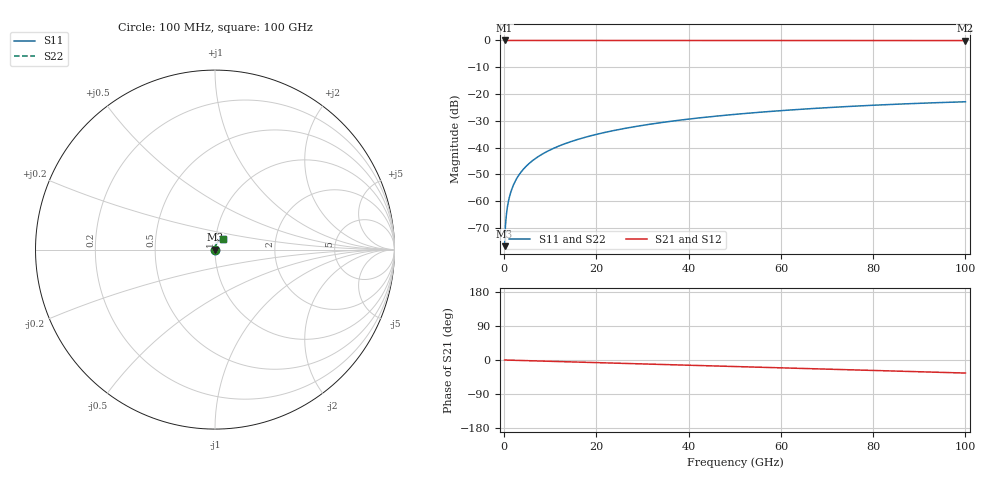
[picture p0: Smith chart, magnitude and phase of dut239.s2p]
! Touchstone file exported from HFSS 2026.1.0
!  File:  C:/ffzhzh/LocalFiles/Ansys_Project_Files/temp_train_TSV_239_1783508135_41296.aedt
!  Generated:  06:56:52 PM Jul  8, 2026
!  Design:  TSV
!  Project:  temp_train_TSV_239_1783508135_41296
! Variables:
!  h_bsmrdl = 2um
!  h_ox = 20um
!  h_rdl = 5um
!  h_sub = 62.86um
!  h_tmrdl = 5um
!  h_tsv = 62.86um
!  h_via = 3um
!  l_bsmrdl = 300um
!  l_sub = 424.14um
!  l_tmrdl = 200um
!  m_sub = 200um
!  pitch = 56.25um
!  r_tsv = 12.07um
!  s_tmrdl = 10um
!  w_bsmrdl = 18um
!  w_sub = 500um
!  w_tmrdl = 12um
!  x_tsv_center1 = 206um
!  x_tsv_center2 = 524um
!  x_tsv_center3 = 736um
!  x_tsv_center4 = 1054um
!  x_tsv_center5 = 1266um
!  x_tsv_center6 = 1584um
# GHz S MA R 50.000000
! Terminal data exported
! Port[1] = TSV1_1_T1
! Port[2] = TSV1_1_T2
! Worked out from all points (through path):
!   1000 points, 100 MHz to 100 GHz, reference 50 ohm
!   highest |S21| = 0.00 dB at 100 MHz (marker M1); lowest = 0.0 dB at 100 GHz (marker M2)
!   group delay of S21, straight-line fit = 955 fs
!   lowest |S11| = -76.8 dB at 100 MHz (marker M3), VSWR 1.00, Z = 50 + j0.0121 ohm
!   |S11| at or under -10 dB: start of sweep to end of sweep
!   |S22| runs from -76.8 to -22.9 dB; largest |S21 - S12| = 2.1e-15
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0.1  0.000145 56.6  0.9999 -0.0  0.9999 -0.0  0.000145 56.6
! Gamma 0 0 0 0
! Port Impedance 50 0 50 0
0.3  0.0003673 73.3  0.9999 -0.1  0.9999 -0.1  0.0003673 73.3
0.7  0.0007779 77.3  0.9998 -0.2  0.9998 -0.2  0.0007779 77.3
0.8  0.0008742 77.8  0.9998 -0.3  0.9998 -0.3  0.0008742 77.8
1  0.001064 78.7  0.9998 -0.4  0.9998 -0.4  0.001064 78.7
1.3  0.001344 79.7  0.9998 -0.5  0.9998 -0.5  0.001344 79.7
1.8  0.001808 80.9  0.9997 -0.6  0.9997 -0.6  0.001808 80.9
2.3  0.002268 81.6  0.9997 -0.8  0.9997 -0.8  0.002268 81.6
3  0.002905 82.1  0.9996 -1.0  0.9996 -1.0  0.002905 82.1
3.8  0.003625 82.5  0.9996 -1.3  0.9996 -1.3  0.003625 82.5
4.8  0.004516 82.7  0.9995 -1.7  0.9995 -1.7  0.004516 82.7
6  0.005578 82.9  0.9995 -2.1  0.9995 -2.1  0.005578 82.9
8.8  0.008038 82.7  0.9994 -3.0  0.9994 -3.0  0.008038 82.7
12.4  0.01117 82.0  0.9992 -4.3  0.9992 -4.3  0.01117 82.0
16.8  0.01495 81.0  0.9991 -5.8  0.9991 -5.8  0.01495 81.0
24.2  0.02121 79.0  0.9988 -8.3  0.9988 -8.3  0.02121 79.0
33.4  0.0288 76.2  0.9984 -11.5  0.9984 -11.5  0.0288 76.2
41.2  0.03503 73.7  0.9981 -14.2  0.9981 -14.2  0.03503 73.7
50.1  0.04184 70.9  0.9977 -17.2  0.9977 -17.2  0.04184 70.8
66.7  0.05356 65.4  0.9969 -22.9  0.9969 -22.9  0.05356 65.4
83.4  0.06373 59.8  0.996 -28.7  0.996 -28.7  0.06373 59.8
100  0.07174 54.3  0.9952 -34.4  0.9952 -34.4  0.07174 54.2
